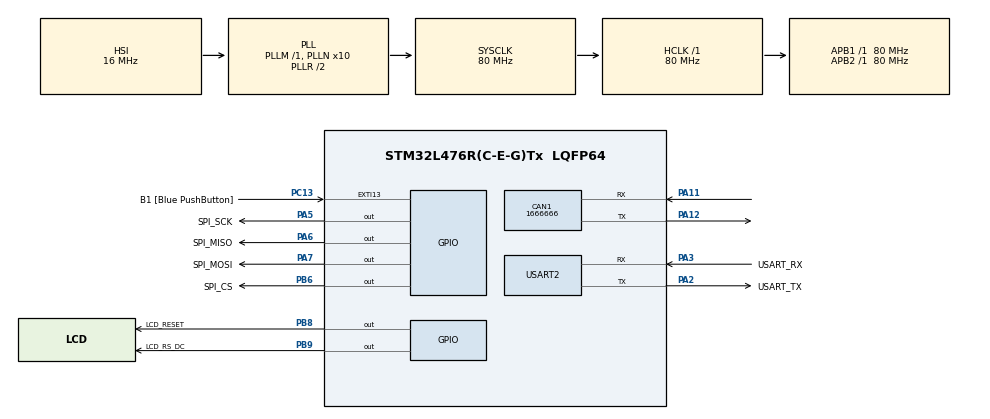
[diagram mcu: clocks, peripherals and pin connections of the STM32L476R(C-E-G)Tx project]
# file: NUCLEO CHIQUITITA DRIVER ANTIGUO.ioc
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CAN1.CalculateBaudRate=1666666
CAN1.CalculateTimeBit=600
CAN1.CalculateTimeQuantum=200.0
FREERTOS.Tasks01=ScreenTask,24,128,StartScreen,Default,NULL,Dynamic,NULL,NULL;ButtonsTask,8,128,StartButtons,Default,NULL,Dynamic,NULL,NULL;CANTask,40,128,StartCAN,Default,NULL,Dynamic,NULL,NULL
Mcu.Family=STM32L4
Mcu.Name=STM32L476R(C-E-G)Tx
Mcu.Package=LQFP64
NVIC.CAN1_RX0_IRQn=true\:5\:0\:false\:false\:true\:true\:true\:true\:true
NVIC.PriorityGroup=NVIC_PRIORITYGROUP_4
PA11.Mode=CAN_Activate
PA11.Signal=CAN1_RX
PA12.Mode=CAN_Activate
PA12.Signal=CAN1_TX
PA13\ (JTMS-SWDIO).GPIO_Label=TMS
PA13\ (JTMS-SWDIO).Mode=Trace_Asynchronous_SW
PA13\ (JTMS-SWDIO).Signal=SYS_JTMS-SWDIO
PA14\ (JTCK-SWCLK).GPIO_Label=TCK
PA14\ (JTCK-SWCLK).Mode=Trace_Asynchronous_SW
PA14\ (JTCK-SWCLK).Signal=SYS_JTCK-SWCLK
PA2.GPIO_Label=USART_TX
PA2.GPIO_Mode=GPIO_MODE_AF_PP
PA2.GPIO_PuPd=GPIO_NOPULL
PA2.GPIO_Speed=GPIO_SPEED_FREQ_VERY_HIGH
PA2.Mode=Asynchronous
PA2.Signal=USART2_TX
PA3.GPIO_Label=USART_RX
PA3.GPIO_Mode=GPIO_MODE_AF_PP
PA3.GPIO_PuPd=GPIO_NOPULL
PA3.GPIO_Speed=GPIO_SPEED_FREQ_VERY_HIGH
PA3.Mode=Asynchronous
PA3.Signal=USART2_RX
PA5.GPIO_Label=SPI_SCK
PA5.Signal=GPIO_Output
PA6.GPIO_Label=SPI_MISO
PA6.Signal=GPIO_Output
PA7.GPIO_Label=SPI_MOSI
PA7.Signal=GPIO_Output
PB3\ (JTDO-TRACESWO).GPIO_Label=SWO
PB3\ (JTDO-TRACESWO).Mode=Trace_Asynchronous_SW
PB3\ (JTDO-TRACESWO).Signal=SYS_JTDO-SWO
PB6.GPIO_Label=SPI_CS
PB6.Signal=GPIO_Output
PB8.GPIO_Label=LCD_RESET
PB8.Signal=GPIO_Output
PB9.GPIO_Label=LCD_RS_DC
PB9.Signal=GPIO_Output
PC13.GPIO_Label=B1 [Blue PushButton]
PC13.GPIO_ModeDefaultEXTI=GPIO_MODE_IT_FALLING
PC13.GPIO_PuPd=GPIO_NOPULL
PC13.Signal=GPXTI13
PC14-OSC32_IN\ (PC14).Mode=LSE-External-Oscillator
PC14-OSC32_IN\ (PC14).Signal=RCC_OSC32_IN
PC15-OSC32_OUT\ (PC15).Mode=LSE-External-Oscillator
PC15-OSC32_OUT\ (PC15).Signal=RCC_OSC32_OUT
PH0-OSC_IN\ (PH0).Mode=HSE-External-Oscillator
PH0-OSC_IN\ (PH0).Signal=RCC_OSC_IN
PH1-OSC_OUT\ (PH1).Mode=HSE-External-Oscillator
PH1-OSC_OUT\ (PH1).Signal=RCC_OSC_OUT
ProjectManager.HeapSize=0x200
ProjectManager.StackSize=0x400
ProjectManager.TargetToolchain=STM32CubeIDE
RCC.ADCFreq_Value=64000000
RCC.AHBFreq_Value=80000000
RCC.APB1Freq_Value=80000000
RCC.APB1TimFreq_Value=80000000
RCC.APB2Freq_Value=80000000
RCC.APB2TimFreq_Value=80000000
RCC.CortexFreq_Value=80000000
RCC.HCLKFreq_Value=80000000
RCC.HSE_VALUE=48000000
RCC.HSI_VALUE=16000000
RCC.MSI_VALUE=4000000
RCC.PLLN=10
RCC.PLLSourceVirtual=RCC_PLLSOURCE_HSI
RCC.PREFETCH_ENABLE=1
RCC.SYSCLKFreq_VALUE=80000000
RCC.SYSCLKSource=RCC_SYSCLKSOURCE_PLLCLK
RCC.USBFreq_Value=64000000
RCC.VCOOutputFreq_Value=160000000
USART2.VirtualMode-Asynchronous=VM_ASYNC
VP_FREERTOS_VS_CMSIS_V2.Mode=CMSIS_V2
board=NUCLEO-L476RG

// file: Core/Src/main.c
/* USER CODE BEGIN Header */
/**
  ******************************************************************************
  * @file           : main.c
  * @brief          : Main program body
  ******************************************************************************
  * @attention
  *
  * Copyright (c) 2025 STMicroelectronics.
  * All rights reserved.
  *
  * This software is licensed under terms that can be found in the LICENSE file
  * in the root directory of this software component.
  * If no LICENSE file comes with this software, it is provided AS-IS.
  *
  ******************************************************************************
  */
/* USER CODE END Header */
#include "main.h"
#include "cmsis_os.h"

/* USER CODE BEGIN Includes */
#include <stm32l4xx_hal_gpio.h>
#include "FONTS/fonts.h"
#include "LCD/bmp.h"
#include "LCD/ili9488.h"
#include "LCD/lcd_io_spi.h"
#include "LCD/lcd.h"
#include "LCD/stm32_adafruit_lcd.h"
#include "DASH/etr_screens.h"
#include "DASH/buttons.h"

/* USER CODE END Includes */

CAN_HandleTypeDef hcan1;

UART_HandleTypeDef huart2;

/* Definitions for ScreenTask */
osThreadId_t ScreenTaskHandle;
const osThreadAttr_t ScreenTask_attributes = {
  .name = "ScreenTask",
  .stack_size = 128 * 4,
  .priority = (osPriority_t) osPriorityNormal,
};
/* Definitions for ButtonsTask */
osThreadId_t ButtonsTaskHandle;
const osThreadAttr_t ButtonsTask_attributes = {
  .name = "ButtonsTask",
  .stack_size = 128 * 4,
  .priority = (osPriority_t) osPriorityLow,
};
/* Definitions for CANTask */
osThreadId_t CANTaskHandle;
const osThreadAttr_t CANTask_attributes = {
  .name = "CANTask",
  .stack_size = 128 * 4,
  .priority = (osPriority_t) osPriorityHigh,
};
/* USER CODE BEGIN PV */

uint8_t currentButtonState_Up;
uint8_t currentButtonState_Down;
uint8_t currentButtonState_Left;
uint8_t currentButtonState_Right;
uint8_t currentButtonState_OK;

uint8_t lastButtonState_Up;
uint8_t lastButtonState_Down;
uint8_t lastButtonState_Left;
uint8_t lastButtonState_Right;
uint8_t lastButtonState_OK;

uint8_t pendingButtonEvent;

/* USER CODE END PV */

void SystemClock_Config(void);
static void MX_GPIO_Init(void);
static void MX_USART2_UART_Init(void);
static void MX_CAN1_Init(void);
void StartScreen(void *argument);
void StartButtons(void *argument);
void StartCAN(void *argument);

int main(void)
{

  /* MCU Configuration--------------------------------------------------------*/

  /* Reset of all peripherals, Initializes the Flash interface and the Systick. */
  HAL_Init();

  /* Configure the system clock */
  SystemClock_Config();

  /* Initialize all configured peripherals */
  MX_GPIO_Init();
  MX_USART2_UART_Init();
  MX_CAN1_Init();
  /* USER CODE BEGIN 2 */
  BSP_LCD_Init();

  /* USER CODE END 2 */

  /* Init scheduler */
  osKernelInitialize();

  /* Create the thread(s) */
  /* creation of ScreenTask */
  ScreenTaskHandle = osThreadNew(StartScreen, NULL, &ScreenTask_attributes);

  /* creation of ButtonsTask */
  ButtonsTaskHandle = osThreadNew(StartButtons, NULL, &ButtonsTask_attributes);

  /* creation of CANTask */
  CANTaskHandle = osThreadNew(StartCAN, NULL, &CANTask_attributes);

  /* Start scheduler */
  osKernelStart();

  /* We should never get here as control is now taken by the scheduler */

  /* Infinite loop */
  while (1)
  {

  }
}

void SystemClock_Config(void)
{
  RCC_OscInitTypeDef RCC_OscInitStruct = {0};
  RCC_ClkInitTypeDef RCC_ClkInitStruct = {0};

  /** Configure the main internal regulator output voltage
  */
  if (HAL_PWREx_ControlVoltageScaling(PWR_REGULATOR_VOLTAGE_SCALE1) != HAL_OK)
  {
    Error_Handler();
  }

  /** Initializes the RCC Oscillators according to the specified parameters
  * in the RCC_OscInitTypeDef structure.
  */
  RCC_OscInitStruct.OscillatorType = RCC_OSCILLATORTYPE_HSI;
  RCC_OscInitStruct.HSIState = RCC_HSI_ON;
  RCC_OscInitStruct.HSICalibrationValue = RCC_HSICALIBRATION_DEFAULT;
  RCC_OscInitStruct.PLL.PLLState = RCC_PLL_ON;
  RCC_OscInitStruct.PLL.PLLSource = RCC_PLLSOURCE_HSI;
  RCC_OscInitStruct.PLL.PLLM = 1;
  RCC_OscInitStruct.PLL.PLLN = 10;
  RCC_OscInitStruct.PLL.PLLP = RCC_PLLP_DIV7;
  RCC_OscInitStruct.PLL.PLLQ = RCC_PLLQ_DIV2;
  RCC_OscInitStruct.PLL.PLLR = RCC_PLLR_DIV2;
  if (HAL_RCC_OscConfig(&RCC_OscInitStruct) != HAL_OK)
  {
    Error_Handler();
  }

  /** Initializes the CPU, AHB and APB buses clocks
  */
  RCC_ClkInitStruct.ClockType = RCC_CLOCKTYPE_HCLK|RCC_CLOCKTYPE_SYSCLK
                              |RCC_CLOCKTYPE_PCLK1|RCC_CLOCKTYPE_PCLK2;
  RCC_ClkInitStruct.SYSCLKSource = RCC_SYSCLKSOURCE_PLLCLK;
  RCC_ClkInitStruct.AHBCLKDivider = RCC_SYSCLK_DIV1;
  RCC_ClkInitStruct.APB1CLKDivider = RCC_HCLK_DIV1;
  RCC_ClkInitStruct.APB2CLKDivider = RCC_HCLK_DIV1;

  if (HAL_RCC_ClockConfig(&RCC_ClkInitStruct, FLASH_LATENCY_4) != HAL_OK)
  {
    Error_Handler();
  }
}

static void MX_CAN1_Init(void)
{

  hcan1.Instance = CAN1;
  hcan1.Init.Prescaler = 16;
  hcan1.Init.Mode = CAN_MODE_NORMAL;
  hcan1.Init.SyncJumpWidth = CAN_SJW_1TQ;
  hcan1.Init.TimeSeg1 = CAN_BS1_1TQ;
  hcan1.Init.TimeSeg2 = CAN_BS2_1TQ;
  hcan1.Init.TimeTriggeredMode = DISABLE;
  hcan1.Init.AutoBusOff = DISABLE;
  hcan1.Init.AutoWakeUp = DISABLE;
  hcan1.Init.AutoRetransmission = DISABLE;
  hcan1.Init.ReceiveFifoLocked = DISABLE;
  hcan1.Init.TransmitFifoPriority = DISABLE;
  if (HAL_CAN_Init(&hcan1) != HAL_OK)
  {
    Error_Handler();
  }

}

static void MX_USART2_UART_Init(void)
{

  huart2.Instance = USART2;
  huart2.Init.BaudRate = 115200;
  huart2.Init.WordLength = UART_WORDLENGTH_8B;
  huart2.Init.StopBits = UART_STOPBITS_1;
  huart2.Init.Parity = UART_PARITY_NONE;
  huart2.Init.Mode = UART_MODE_TX_RX;
  huart2.Init.HwFlowCtl = UART_HWCONTROL_NONE;
  huart2.Init.OverSampling = UART_OVERSAMPLING_16;
  huart2.Init.OneBitSampling = UART_ONE_BIT_SAMPLE_DISABLE;
  huart2.AdvancedInit.AdvFeatureInit = UART_ADVFEATURE_NO_INIT;
  if (HAL_UART_Init(&huart2) != HAL_OK)
  {
    Error_Handler();
  }

}

static void MX_GPIO_Init(void)
{
  GPIO_InitTypeDef GPIO_InitStruct = {0};

  /* GPIO Ports Clock Enable */
  __HAL_RCC_GPIOC_CLK_ENABLE();
  __HAL_RCC_GPIOH_CLK_ENABLE();
  __HAL_RCC_GPIOA_CLK_ENABLE();
  __HAL_RCC_GPIOB_CLK_ENABLE();

  /*Configure GPIO pin Output Level */
  HAL_GPIO_WritePin(GPIOA, SPI_SCK_Pin|SPI_MISO_Pin|SPI_MOSI_Pin, GPIO_PIN_RESET);

  /*Configure GPIO pin Output Level */
  HAL_GPIO_WritePin(GPIOB, SPI_CS_Pin|LCD_RESET_Pin|LCD_RS_DC_Pin, GPIO_PIN_RESET);

  /*Configure GPIO pin : B1_Pin */
  GPIO_InitStruct.Pin = B1_Pin;
  GPIO_InitStruct.Mode = GPIO_MODE_IT_FALLING;
  GPIO_InitStruct.Pull = GPIO_NOPULL;
  HAL_GPIO_Init(B1_GPIO_Port, &GPIO_InitStruct);

  /*Configure GPIO pins : SPI_SCK_Pin SPI_MISO_Pin SPI_MOSI_Pin */
  GPIO_InitStruct.Pin = SPI_SCK_Pin|SPI_MISO_Pin|SPI_MOSI_Pin;
  GPIO_InitStruct.Mode = GPIO_MODE_OUTPUT_PP;
  GPIO_InitStruct.Pull = GPIO_NOPULL;
  GPIO_InitStruct.Speed = GPIO_SPEED_FREQ_LOW;
  HAL_GPIO_Init(GPIOA, &GPIO_InitStruct);

  /*Configure GPIO pins : SPI_CS_Pin LCD_RESET_Pin LCD_RS_DC_Pin */
  GPIO_InitStruct.Pin = SPI_CS_Pin|LCD_RESET_Pin|LCD_RS_DC_Pin;
  GPIO_InitStruct.Mode = GPIO_MODE_OUTPUT_PP;
  GPIO_InitStruct.Pull = GPIO_NOPULL;
  GPIO_InitStruct.Speed = GPIO_SPEED_FREQ_LOW;
  HAL_GPIO_Init(GPIOB, &GPIO_InitStruct);

}

void StartScreen(void *argument)
{
  /* USER CODE BEGIN 5 */
  /* Infinite loop */
  for(;;)
  {
	refreshScreen(pendingButtonEvent);
	drawScreen();

    osDelay(25);
  }
  /* USER CODE END 5 */
}

void StartButtons(void *argument)
{
  /* USER CODE BEGIN StartButtons */
    lastButtonState_Up = 0;
    lastButtonState_Down = 0;
    lastButtonState_Left = 0;
    lastButtonState_Right = 0;
    lastButtonState_OK = 0;

  /* Infinite loop */
  for(;;)
  {
	  refreshButton();
	  osDelay(1);  // prioridad más baja
	      }

  /* USER CODE END StartButtons */
}

void StartCAN(void *argument)
{
  /* USER CODE BEGIN StartCAN */
  /* Infinite loop */
  for(;;)
  {
    osDelay(25);
  }
  /* USER CODE END StartCAN */
}

void Error_Handler(void)
{
  __disable_irq();
  while (1)
  {
  }
}
